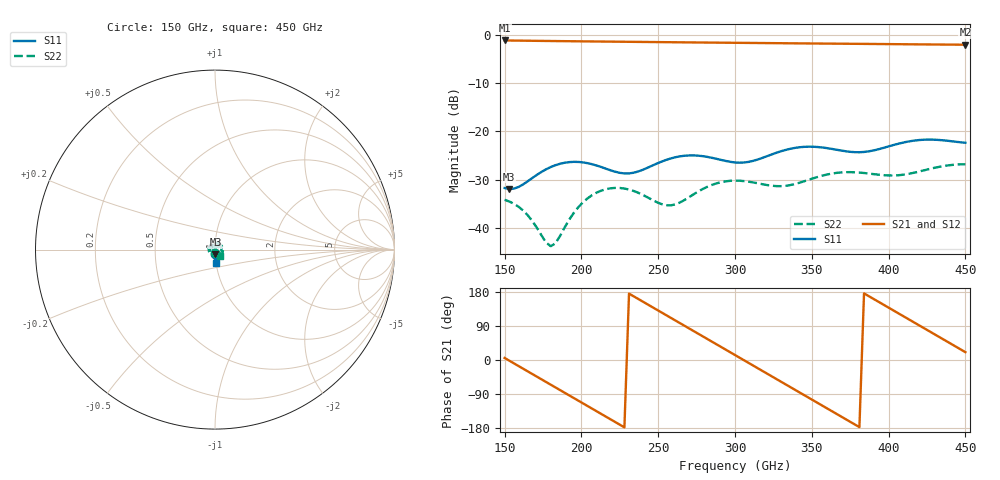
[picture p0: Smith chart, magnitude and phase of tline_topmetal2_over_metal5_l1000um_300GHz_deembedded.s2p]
! Created with skrf 2.0.1 (http://scikit-rf.org).
# GHz S DB R 50.0
!freq dBS11 angS11 dBS21 angS21 dBS12 angS12 dBS22 angS22
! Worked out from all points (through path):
!   101 points, 150 GHz to 450 GHz, reference 50 ohm
!   highest |S21| = -1.23 dB at 150 GHz (marker M1); lowest = -2.1 dB at 450 GHz (marker M2)
!   group delay of S21, straight-line fit = 6.52 ps
!   lowest |S11| = -31.9 dB at 153 GHz (marker M3), VSWR 1.05, Z = 50.2 - j2.54 ohm
!   |S11| at or under -10 dB: start of sweep to end of sweep
!   |S22| runs from -43.7 to -26.8 dB; largest |S21 - S12| = 9.7e-14
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150  -31.69 -89.7  -1.23 5.4  -1.23 5.4  -34.13 -84.6
153  -31.89 -84.8  -1.24 -1.7  -1.24 -1.7  -34.46 -92.0
165  -30.31 -68.5  -1.28 -29.9  -1.28 -29.9  -37.29 -128.2
180  -27.36 -71.1  -1.34 -65.1  -1.34 -65.1  -43.69 135.0
201  -26.40 -88.4  -1.41 -114.4  -1.41 -114.4  -34.65 6.6
216  -27.70 -93.9  -1.46 -149.6  -1.46 -149.6  -31.93 -44.3
228  -28.68 -87.0  -1.49 -177.8  -1.49 -177.8  -31.80 -85.6
240  -27.92 -76.7  -1.53 154.0  -1.53 154.0  -33.11 -133.1
252  -26.26 -75.1  -1.57 125.8  -1.57 125.8  -34.99 165.4
264  -25.16 -80.5  -1.61 97.7  -1.61 97.7  -34.70 92.2
276  -25.01 -87.4  -1.64 69.5  -1.64 69.5  -32.42 30.1
300  -26.41 -86.9  -1.71 13.1  -1.71 13.1  -30.16 -69.5
315  -25.78 -77.0  -1.75 -22.1  -1.75 -22.1  -30.72 -134.6
330  -24.09 -76.2  -1.79 -57.4  -1.79 -57.4  -31.30 149.8
351  -23.17 -85.7  -1.85 -106.7  -1.85 -106.7  -29.68 44.0
366  -23.78 -89.3  -1.89 -141.9  -1.89 -141.9  -28.57 -22.1
378  -24.29 -85.9  -1.92 -170.1  -1.92 -170.1  -28.44 -73.9
390  -23.94 -79.8  -1.95 161.7  -1.95 161.7  -28.81 -128.5
402  -22.92 -77.5  -1.98 133.5  -1.98 133.5  -29.10 172.2
414  -22.02 -80.2  -2.02 105.3  -2.02 105.3  -28.70 111.2
426  -21.69 -84.7  -2.05 77.1  -2.05 77.1  -27.81 53.5
450  -22.35 -87.5  -2.10 20.7  -2.10 20.7  -26.79 -52.5
